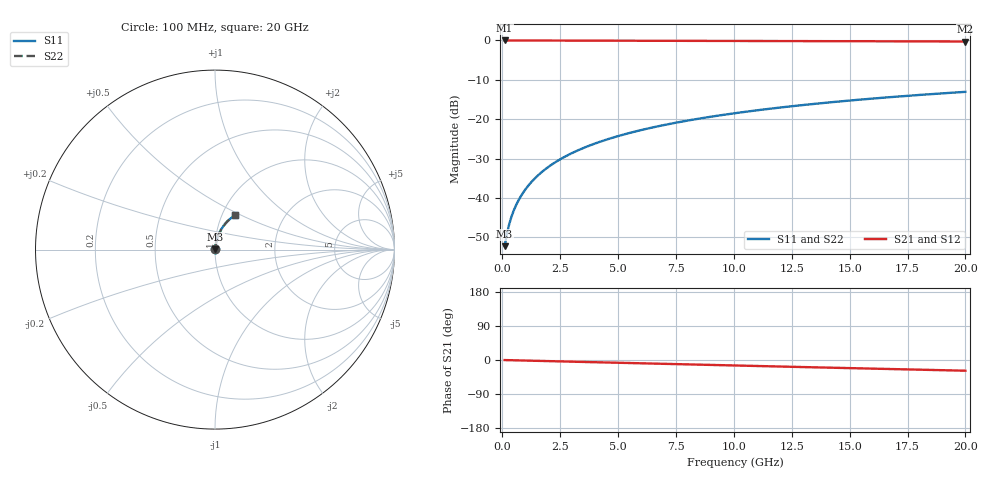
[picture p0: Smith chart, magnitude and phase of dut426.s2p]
! Touchstone file exported from HFSS 2026.1.0
!  File:  C:/ffzhzh/LocalFiles/Ansys_Project_Files/temp_train_BSMRDL_426_1783012829_53980.aedt
!  Generated:  01:21:51 AM Jul  3, 2026
!  Design:  BSMRDL
!  Project:  temp_train_BSMRDL_426_1783012829_53980
! Variables:
!  h_bsmrdl = 3.18um
!  h_ox = 20um
!  h_rdl = 5um
!  h_sub = 80um
!  h_tmrdl = 5um
!  h_tsv = 80um
!  h_via = 3um
!  l_bsmrdl = 415.83um
!  l_sub = 815.83um
!  l_tmrdl = 200um
!  m_sub = 200um
!  pitch = 46.24um
!  r_tsv = 6um
!  s_tmrdl = 10um
!  w_bsmrdl = 27.25um
!  w_sub = 500um
!  w_tmrdl = 12um
!  x_tsv_center1 = 206um
!  x_tsv_center2 = 649.08um
!  x_tsv_center3 = 861.08um
!  x_tsv_center4 = 1304.16um
!  x_tsv_center5 = 1516.16um
!  x_tsv_center6 = 1959.24um
# GHz S MA R 50.000000
! Terminal data exported
! Port[1] = BSM_RDL1_1_T1
! Port[2] = BSM_RDL1_1_T2
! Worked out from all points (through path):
!   200 points, 100 MHz to 20 GHz, reference 50 ohm
!   highest |S21| = -0.02 dB at 100 MHz (marker M1); lowest = -0.3 dB at 20 GHz (marker M2)
!   group delay of S21, straight-line fit = 3.93 ps
!   lowest |S11| = -52.2 dB at 100 MHz (marker M3), VSWR 1.00, Z = 50.2 + j0.143 ohm
!   |S11| at or under -10 dB: start of sweep to end of sweep
!   |S22| runs from -52.2 to -13.1 dB; largest |S21 - S12| = 3.1e-15
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0.1  0.002444 35.8  0.998 -0.2  0.998 -0.2  0.002444 35.8
! Gamma 0 0 0 0
! Port Impedance 50 0 50 0
0.2  0.003504 52.8  0.9979 -0.3  0.9979 -0.3  0.003504 52.7
0.3  0.004666 60.8  0.9977 -0.5  0.9977 -0.5  0.004666 60.8
0.4  0.005832 65.5  0.9976 -0.6  0.9976 -0.6  0.005832 65.5
0.5  0.006994 68.7  0.9975 -0.8  0.9975 -0.8  0.006993 68.7
0.6  0.008156 71.1  0.9975 -0.9  0.9975 -0.9  0.008156 71.1
0.8  0.0105 74.4  0.9973 -1.2  0.9973 -1.2  0.0105 74.4
1.1  0.01406 77.3  0.9972 -1.6  0.9972 -1.6  0.01405 77.3
1.3  0.01645 78.4  0.9971 -1.9  0.9971 -1.9  0.01645 78.4
1.6  0.02006 79.6  0.997 -2.4  0.997 -2.4  0.02006 79.6
2.1  0.02611 80.5  0.9967 -3.1  0.9967 -3.1  0.02611 80.5
2.7  0.03338 80.7  0.9964 -4.0  0.9964 -4.0  0.03338 80.8
3.5  0.04305 80.5  0.9958 -5.1  0.9958 -5.1  0.04305 80.5
4.2  0.05146 79.9  0.9951 -6.1  0.9951 -6.1  0.05145 79.9
5  0.06099 79.1  0.9943 -7.3  0.9943 -7.3  0.06099 79.1
5.9  0.07162 78.1  0.9933 -8.6  0.9933 -8.6  0.07162 78.1
6.8  0.08214 76.9  0.9921 -9.9  0.9921 -9.9  0.08214 77.0
8.3  0.0994 75.0  0.99 -12.0  0.99 -12.0  0.0994 75.0
10.1  0.1197 72.7  0.9871 -14.6  0.9871 -14.6  0.1197 72.7
13.4  0.1556 68.3  0.9811 -19.2  0.9811 -19.2  0.1556 68.3
16.7  0.1899 63.9  0.9743 -23.8  0.9743 -23.8  0.1898 64.0
20  0.2223 59.6  0.9668 -28.3  0.9668 -28.3  0.2223 59.7
